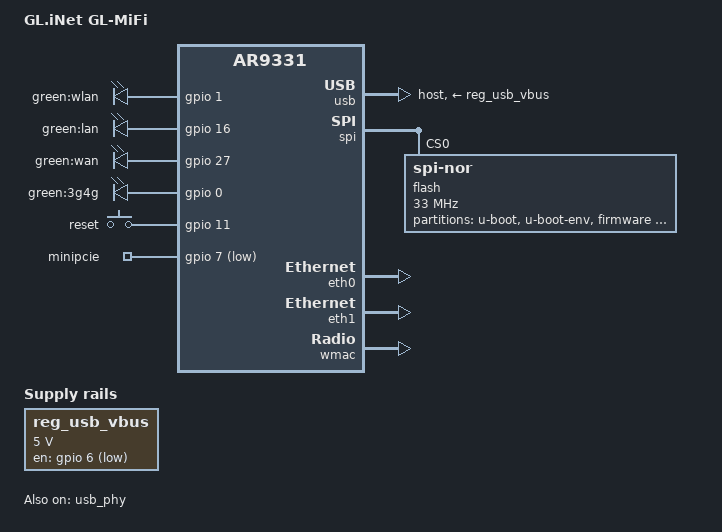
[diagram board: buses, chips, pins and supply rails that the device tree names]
// SPDX-License-Identifier: GPL-2.0-or-later OR MIT

#include "ar9331.dtsi"

#include <dt-bindings/gpio/gpio.h>
#include <dt-bindings/input/input.h>

/ {
	compatible = "glinet,gl-mifi", "qca,ar9331";
	model = "GL.iNet GL-MiFi";

	aliases {
		label-mac-device = &eth0;
	};

	leds {
		compatible = "gpio-leds";

		wlan {
			label = "green:wlan";
			gpios = <&gpio 1 GPIO_ACTIVE_HIGH>;
			linux,default-trigger = "phy0tpt";
		};

		lan {
			label = "green:lan";
			gpios = <&gpio 16 GPIO_ACTIVE_HIGH>;
		};

		wan {
			label = "green:wan";
			gpios = <&gpio 27 GPIO_ACTIVE_HIGH>;
		};

		3g4g {
			label = "green:3g4g";
			gpios = <&gpio 0 GPIO_ACTIVE_HIGH>;
		};
	};

	keys {
		compatible = "gpio-keys";

		reset {
			label = "reset";
			linux,code = <KEY_RESTART>;
			gpios = <&gpio 11 GPIO_ACTIVE_HIGH>;
			debounce-interval = <60>;
		};
	};

	reg_usb_vbus: reg_usb_vbus {
		compatible = "regulator-fixed";
		regulator-name = "usb_vbus";
		regulator-min-microvolt = <5000000>;
		regulator-max-microvolt = <5000000>;
		gpio = <&gpio 6 GPIO_ACTIVE_LOW>;
	};

	gpio-export {
		compatible = "gpio-export";

		minipcie {
			gpio-export,name = "minipcie";
			gpio-export,output = <0>;
			gpios = <&gpio 7 GPIO_ACTIVE_LOW>;
		};
	};
};

&usb {
	status = "okay";

	dr_mode = "host";
	vbus-supply = <&reg_usb_vbus>;
};

&usb_phy {
	status = "okay";
};

&spi {
	status = "okay";

	flash@0 {
		compatible = "jedec,spi-nor";
		spi-max-frequency = <33000000>;
		reg = <0>;

		partitions {
			compatible = "fixed-partitions";
			#address-cells = <1>;
			#size-cells = <1>;

			partition@0 {
				label = "u-boot";
				reg = <0x000000 0x040000>;
				read-only;
			};

			partition@40000 {
				label = "u-boot-env";
				reg = <0x040000 0x010000>;
			};

			partition@50000 {
				compatible = "denx,uimage";
				label = "firmware";
				reg = <0x050000 0xfa0000>;
			};

			art: partition@ff0000 {
				label = "art";
				reg = <0xff0000 0x010000>;
				read-only;
			};
		};
	};
};

&eth0 {
	status = "okay";

	nvmem-cells = <&macaddr_art_0>;
	nvmem-cell-names = "mac-address";

	gmac-config {
		device = <&gmac>;

		switch-phy-addr-swap = <0>;
		switch-phy-swap = <0>;
	};
};

&eth1 {
	status = "okay";

	nvmem-cells = <&macaddr_art_0>;
	nvmem-cell-names = "mac-address";
};

&wmac {
	status = "okay";

	mtd-cal-data = <&art 0x1000>;
};

&art {
	compatible = "nvmem-cells";
	#address-cells = <1>;
	#size-cells = <1>;

	macaddr_art_0: macaddr@0 {
		reg = <0x0 0x6>;
	};
};
